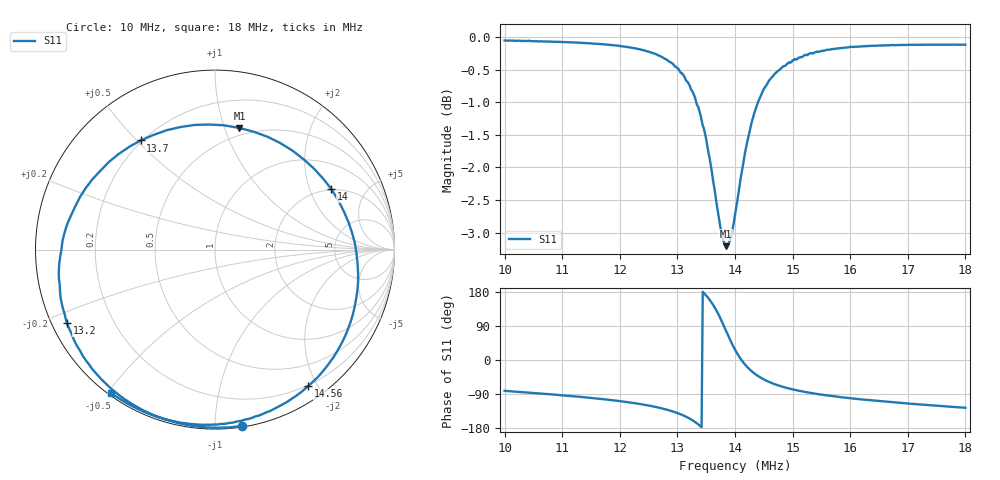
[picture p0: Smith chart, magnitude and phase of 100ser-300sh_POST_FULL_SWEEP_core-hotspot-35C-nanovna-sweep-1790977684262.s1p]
! NanoVNA Web complex sweep
! Processing: original sample grid, no browser smoothing
# Hz S RI R 50
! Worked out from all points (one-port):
!   401 points, 10 MHz to 18 MHz, reference 50 ohm
!   lowest |S11| = -3.2 dB at 13.84 MHz (marker M1), VSWR 5.48, Z = 21.7 + j56.2 ohm
!   |S11| at or under -10 dB: nowhere
!   S11 on the Smith chart (normalised r, x): 10 MHz: 0.01, -1.16; 13.2 MHz: 0.04, -0.23; 13.7 MHz: 0.19, +0.51; 14 MHz: 1.96, +2.84; 14.56 MHz: 0.19, -1.88; 18 MHz: 0.01, -0.51
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1e7  0.1486 -0.9831
1.1e7  -0.0531 -0.9901
1.2e7  -0.3122 -0.9336
1.26e7  -0.5316 -0.813
1.282e7  -0.6332 -0.7226
1.3e7  -0.7245 -0.6093
1.32e7  -0.824 -0.4101
1.338e7  -0.8701 -0.1215
1.35e7  -0.8225 0.1445
1.36e7  -0.6827 0.3922
1.37e7  -0.4146 0.608
1.378e7  -0.1106 0.6947
1.384e7  0.1362 0.6777
1.392e7  0.4324 0.5509
1.4e7  0.6484 0.3371
1.404e7  0.7174 0.2138
1.41e7  0.7794 0.035
1.42e7  0.7925 -0.2339
1.428e7  0.7541 -0.4067
1.436e7  0.694 -0.5431
1.446e7  0.6068 -0.6707
1.456e7  0.5187 -0.7607
1.474e7  0.3744 -0.8639
1.5e7  0.2076 -0.9373
1.544e7  0.000154 -0.9742
1.6e7  -0.1835 -0.9659
1.7e7  -0.4145 -0.8954
1.8e7  -0.581 -0.7976
